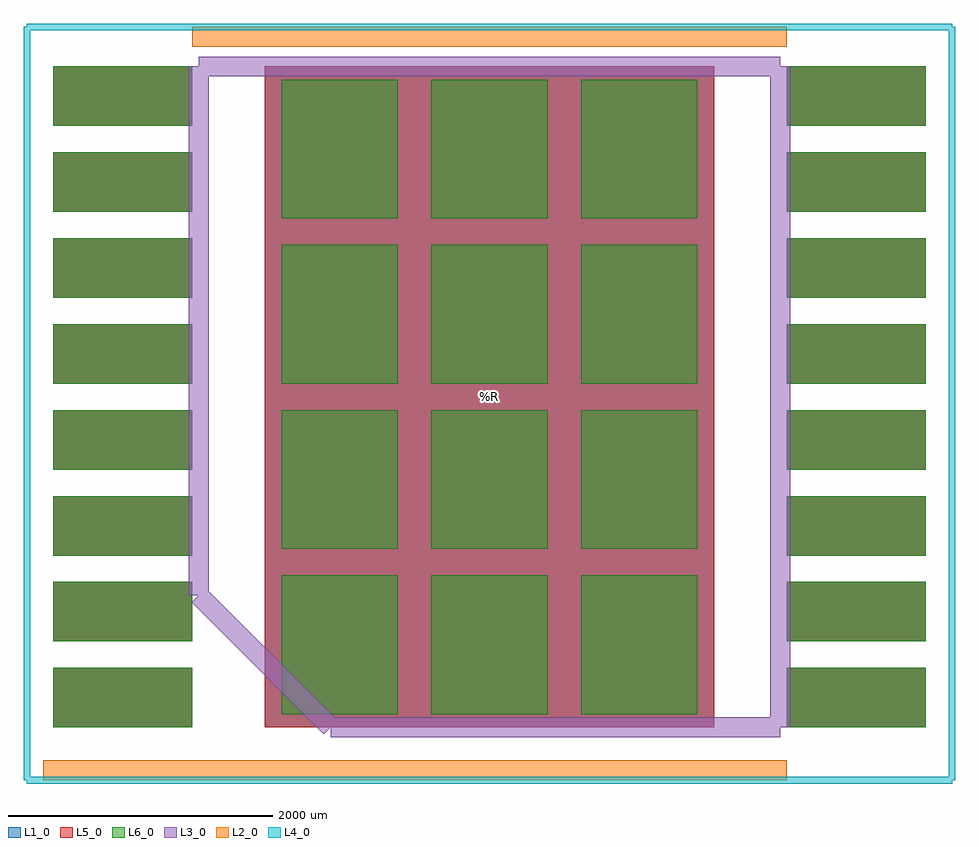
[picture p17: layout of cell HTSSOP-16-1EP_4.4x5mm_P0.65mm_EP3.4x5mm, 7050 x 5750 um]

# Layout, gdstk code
import gdstk
lib = gdstk.Library(unit=1e-6, precision=1e-09)
def R(c, l, rs):  # rectangles x0, y0, x1, y1
    for r in rs: c.add(gdstk.rectangle(r[:2], r[2:], *l))
def A(c, l, x, y, w, h, nx, ny, dx, dy):  # array of equal rectangles
    R(c, l, [(x+i*dx, y+j*dy, x+i*dx+w, y+j*dy+h) for i in range(nx) for j in range(ny)])
L1_0 = (1, 0)
L2_0 = (2, 0)
L3_0 = (3, 0)
L4_0 = (4, 0)
L5_0 = (5, 0)
L6_0 = (6, 0)

htssop_16_1ep_4_4x5mm_p0 = lib.new_cell('HTSSOP-16-1EP_4.4x5mm_P0.65mm_EP3.4x5mm')
A(htssop_16_1ep_4_4x5mm_p0, L1_0, -3300, -2500, 1050, 450, 1, 8, 0, 650)
A(htssop_16_1ep_4_4x5mm_p0, L1_0, 2250, -2500, 1050, 450, 1, 8, 0, 650)
R(htssop_16_1ep_4_4x5mm_p0, L1_0, [(-1700,-2500,1700,2500)])
A(htssop_16_1ep_4_4x5mm_p0, L5_0, -3300, -2500, 1050, 450, 1, 8, 0, 650)
A(htssop_16_1ep_4_4x5mm_p0, L5_0, 2250, -2500, 1050, 450, 1, 8, 0, 650)
R(htssop_16_1ep_4_4x5mm_p0, L5_0, [(-1700,-2500,1700,2500)])
A(htssop_16_1ep_4_4x5mm_p0, L6_0, -3300, -2500, 1050, 450, 1, 8, 0, 650)
A(htssop_16_1ep_4_4x5mm_p0, L6_0, 2250, -2500, 1050, 450, 1, 8, 0, 650)
A(htssop_16_1ep_4_4x5mm_p0, L6_0, -1573, -2400, 880, 1050, 3, 4, 1133, 1250)
htssop_16_1ep_4_4x5mm_p0.add(gdstk.FlexPath([(-1200,-2500),(2200,-2500)], 150, ends="flush", simple_path=True, layer=3, datatype=0))  # L3_0
htssop_16_1ep_4_4x5mm_p0.add(gdstk.FlexPath([(2200,-2500),(2200,2500)], 150, ends="flush", simple_path=True, layer=3, datatype=0))  # L3_0
htssop_16_1ep_4_4x5mm_p0.add(gdstk.FlexPath([(2200,2500),(-2200,2500)], 150, ends="flush", simple_path=True, layer=3, datatype=0))  # L3_0
htssop_16_1ep_4_4x5mm_p0.add(gdstk.FlexPath([(-2200,2500),(-2200,-1500)], 150, ends="flush", simple_path=True, layer=3, datatype=0))  # L3_0
htssop_16_1ep_4_4x5mm_p0.add(gdstk.FlexPath([(-2200,-1500),(-1200,-2500)], 150, ends="flush", simple_path=True, layer=3, datatype=0))  # L3_0
htssop_16_1ep_4_4x5mm_p0.add(gdstk.FlexPath([(-3500,-2900),(-3500,2800)], 50, ends="flush", simple_path=True, layer=4, datatype=0))  # L4_0
htssop_16_1ep_4_4x5mm_p0.add(gdstk.FlexPath([(3500,-2900),(3500,2800)], 50, ends="flush", simple_path=True, layer=4, datatype=0))  # L4_0
htssop_16_1ep_4_4x5mm_p0.add(gdstk.FlexPath([(-3500,-2900),(3500,-2900)], 50, ends="flush", simple_path=True, layer=4, datatype=0))  # L4_0
htssop_16_1ep_4_4x5mm_p0.add(gdstk.FlexPath([(-3500,2800),(3500,2800)], 50, ends="flush", simple_path=True, layer=4, datatype=0))  # L4_0
htssop_16_1ep_4_4x5mm_p0.add(gdstk.FlexPath([(-2250,2725),(2250,2725)], 150, ends="flush", simple_path=True, layer=2, datatype=0))  # L2_0
htssop_16_1ep_4_4x5mm_p0.add(gdstk.FlexPath([(-3375,-2825),(2250,-2825)], 150, ends="flush", simple_path=True, layer=2, datatype=0))  # L2_0
htssop_16_1ep_4_4x5mm_p0.add(gdstk.Label('REF**', (0,-3550), layer=2, texttype=0))
htssop_16_1ep_4_4x5mm_p0.add(gdstk.Label('HTSSOP-16-1EP_4.4x5mm_P0.65mm_EP3.4x5mm', (0,3550), layer=3, texttype=0))
htssop_16_1ep_4_4x5mm_p0.add(gdstk.Label('%R', (0,0), layer=3, texttype=0))

lib.write_gds('HTSSOP-16-1EP_4.4x5mm_P0.65mm_EP3.4x5mm.gds')
